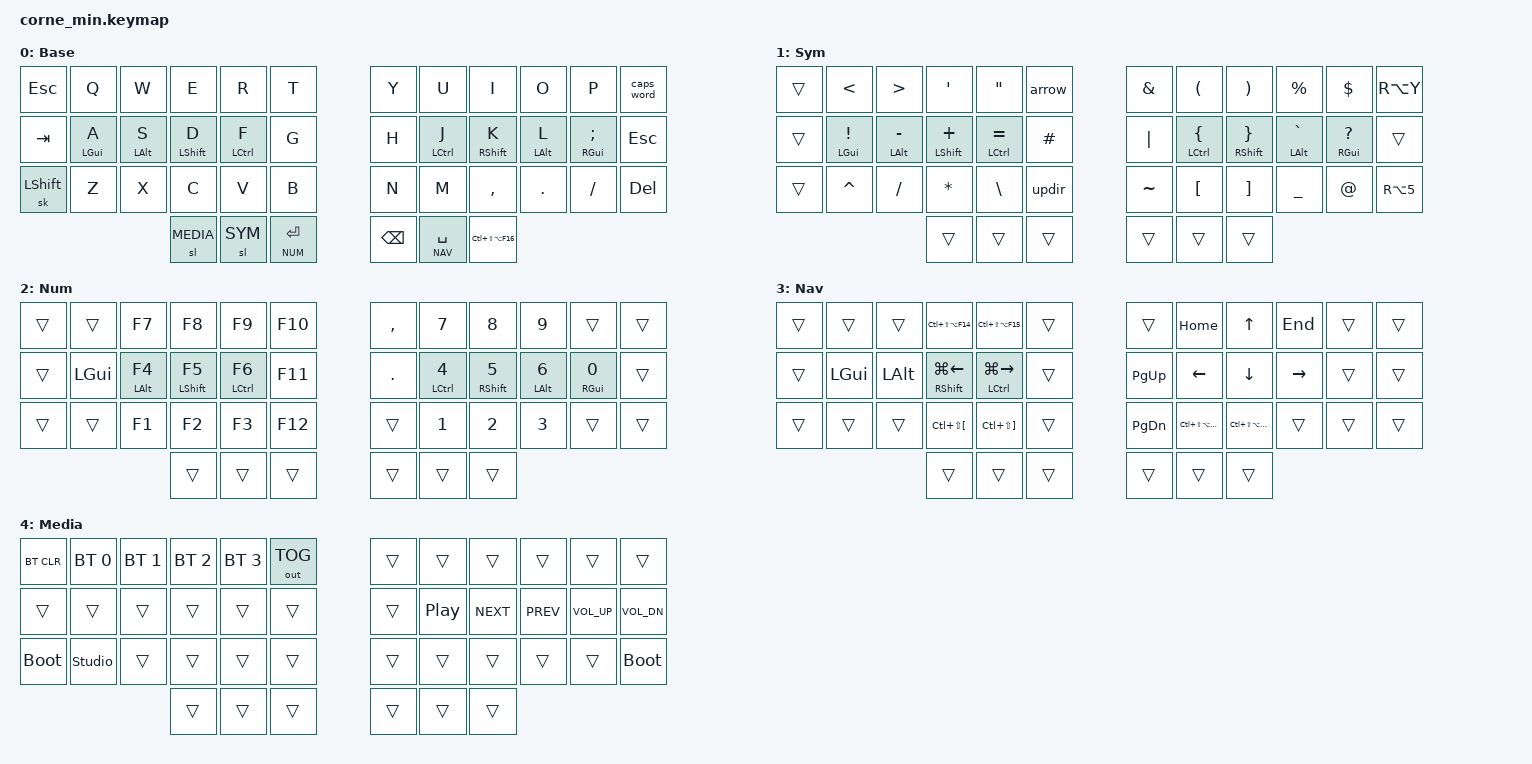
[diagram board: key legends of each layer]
#include <behaviors.dtsi>
#include <dt-bindings/zmk/keys.h>
#include <dt-bindings/zmk/bt.h>
#include <dt-bindings/zmk/outputs.h>

// Layer indices
#define BASE  0
#define SYM   1
#define NUM   2
#define NAV   3
#define MEDIA 4

// Match the QMK caps-word feel: keep going on numbers, minus/underscore,
// backspace and delete (QMK caps_word_press_user).
&caps_word {
    continue-list = <UNDERSCORE MINUS BACKSPACE DELETE N1 N2 N3 N4 N5 N6 N7 N8 N9 N0>;
};

// True one-shot shift: release the sticky mod on the next key's *press*
// (default is on its release, which shifts two keys when rolling fast).
&sk {
    quick-release;
};

/ {
    behaviors {
        // Home-row mods (and shifted mod-taps on SYM/NUM).
        // Replicates your QMK feel: TAPPING_TERM 200, no permissive-hold,
        // no quick-tap  ->  flavor "tap-preferred".
        hm: home_row_mod {
            compatible = "zmk,behavior-hold-tap";
            #binding-cells = <2>;
            flavor = "tap-preferred";
            tapping-term-ms = <200>;
            bindings = <&kp>, <&kp>;
        };
    };

    macros {
        // ARROW  ->  "->"
        arrow: arrow {
            compatible = "zmk,behavior-macro";
            #binding-cells = <0>;
            bindings = <&kp MINUS &kp GT>;
        };
        // UPDIR  ->  "../"
        updir: updir {
            compatible = "zmk,behavior-macro";
            #binding-cells = <0>;
            bindings = <&kp DOT &kp DOT &kp FSLH>;
        };
    };

    keymap {
        compatible = "zmk,keymap";

        base_layer {
            display-name = "Base";
            bindings = <
&kp ESC     &kp Q        &kp W        &kp E         &kp R         &kp T          &kp Y       &kp U         &kp I        &kp O        &kp P          &caps_word
&kp TAB     &hm LGUI A   &hm LALT S   &hm LSHFT D   &hm LCTRL F   &kp G          &kp H       &hm LCTRL J   &hm RSHFT K  &hm LALT L   &hm RGUI SEMI  &kp ESC
&sk LSHFT   &kp Z        &kp X        &kp C         &kp V         &kp B          &kp N       &kp M         &kp COMMA    &kp DOT      &kp FSLH       &kp DEL
                                      &sl MEDIA     &sl SYM       &lt NUM ENTER  &kp BSPC    &lt NAV SPACE &kp LC(LS(LA(F16)))
            >;
        };

        sym_layer {
            display-name = "Sym";
            bindings = <
&trans   &kp LT           &kp GT           &kp SQT          &kp DQT            &arrow      &kp AMPS   &kp LPAR         &kp RPAR         &kp PRCNT        &kp DLLR         &kp RA(Y)
&trans   &hm LGUI EXCL    &hm LALT MINUS   &hm LSHFT PLUS   &hm LCTRL EQUAL    &kp HASH    &kp PIPE   &hm LCTRL LBRC   &hm RSHFT RBRC   &hm LALT GRAVE   &hm RGUI QMARK   &trans
&trans   &kp CARET        &kp FSLH         &kp ASTRK        &kp BSLH           &updir      &kp TILDE  &kp LBKT         &kp RBKT         &kp UNDER        &kp AT           &kp RA(N5)
                                           &trans           &trans             &trans      &trans     &trans           &trans
            >;
        };

        num_layer {
            display-name = "Num";
            bindings = <
&trans   &trans      &kp F7         &kp F8         &kp F9          &kp F10    &kp COMMA  &kp N7         &kp N8         &kp N9         &trans         &trans
&trans   &kp LGUI    &hm LALT F4    &hm LSHFT F5   &hm LCTRL F6    &kp F11    &kp DOT    &hm LCTRL N4   &hm RSHFT N5   &hm LALT N6    &hm RGUI N0    &trans
&trans   &trans      &kp F1         &kp F2         &kp F3          &kp F12    &trans     &kp N1         &kp N2         &kp N3         &trans         &trans
                                    &trans         &trans          &trans     &trans     &trans         &trans
            >;
        };

        nav_layer {
            display-name = "Nav";
            bindings = <
&trans   &trans     &trans     &kp LC(LS(LA(F14)))  &kp LC(LS(LA(F15)))   &trans   &trans      &kp HOME   &kp UP     &kp END    &trans   &trans
&trans   &kp LGUI   &kp LALT   &hm RSHFT LG(LEFT)   &hm LCTRL LG(RIGHT)   &trans   &kp PG_UP   &kp LEFT   &kp DOWN   &kp RIGHT  &trans   &trans
&trans   &trans     &trans     &kp LC(LS(LBKT))     &kp LC(LS(RBKT))      &trans   &kp PG_DN   &kp LC(LS(LA(LG(F13))))  &kp LC(LS(LA(LG(F14))))  &trans  &trans  &trans
                               &trans               &trans                &trans   &trans      &trans     &trans
            >;
        };

        media_layer {
            display-name = "Media";
            bindings = <
&bt BT_CLR    &bt BT_SEL 0    &bt BT_SEL 1  &bt BT_SEL 2  &bt BT_SEL 3  &out OUT_TOG   &trans   &trans     &trans      &trans      &trans        &trans
&trans        &trans          &trans        &trans        &trans        &trans         &trans   &kp C_PP   &kp C_NEXT  &kp C_PREV  &kp C_VOL_UP  &kp C_VOL_DN
&bootloader   &studio_unlock  &trans        &trans        &trans        &trans         &trans   &trans     &trans      &trans      &trans        &bootloader
                                        &trans        &trans        &trans         &trans   &trans     &trans
            >;
        };

        // Empty slots so ZMK Studio can add layers at runtime.
        extra1 {
            display-name = "Extra-1";
            status = "reserved";
        };

        extra2 {
            display-name = "Extra-2";
            status = "reserved";
        };

        extra3 {
            display-name = "Extra-3";
            status = "reserved";
        };
    };
};
